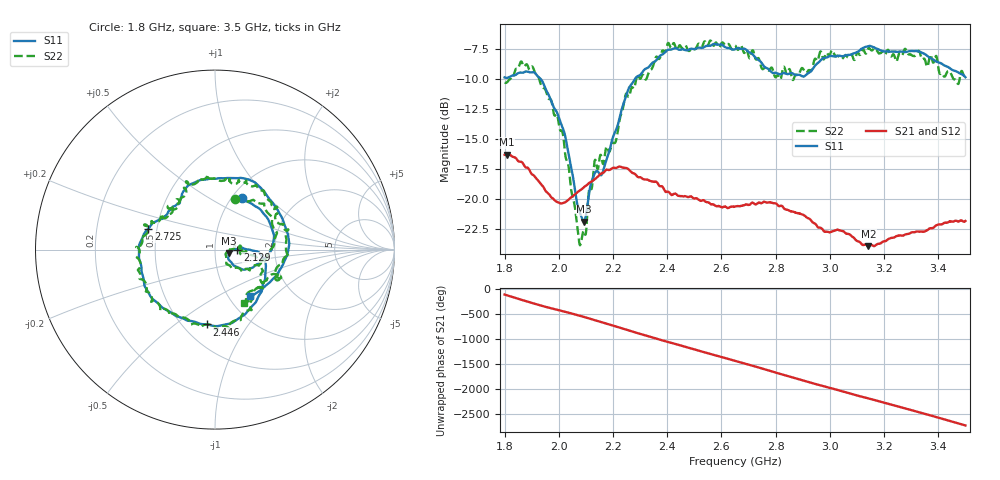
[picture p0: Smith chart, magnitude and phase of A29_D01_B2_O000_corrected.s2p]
! Created with skrf 1.9.0 (http://scikit-rf.org).
# Hz S RI R 50.0
!freq ReS11 ImS11 ReS21 ImS21 ReS12 ImS12 ReS22 ImS22
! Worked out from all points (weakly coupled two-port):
!   1601 points, 1.8 GHz to 3.5 GHz, reference 50 ohm
!   highest |S21| = -16.30 dB at 1.807 GHz (marker M1); lowest = -24.0 dB at 3.142 GHz (marker M2)
!   lowest |S11| = -21.9 dB at 2.093 GHz (marker M3), VSWR 1.17, Z = 58.4 - j2.33 ohm
!   |S11| at or under -10 dB: 1.934 GHz to 2.28 GHz (346.3 MHz wide, 16.4 % of centre)
!   |S22| runs from -23.9 to -6.8 dB; largest |S21 - S12| = 0.0029
!   S11 on the Smith chart (normalised r, x): 1.8 GHz: 1.11, +0.71; 2.129 GHz: 1.29, -0.00; 2.446 GHz: 0.65, -0.66; 2.725 GHz: 0.45, +0.12; 3.5 GHz: 1.25, -0.72
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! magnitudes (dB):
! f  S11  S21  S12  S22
! 1.8 GHz  -9.8  -16.3  -16.3  -10.3
! 1.807 GHz  -9.9  -16.3  -16.3  -10.3
! 1.865 GHz  -9.5  -17.0  -17.0  -8.6
! 1.915 GHz  -9.5  -18.2  -18.2  -9.5
! 1.969 GHz  -11.6  -19.8  -19.8  -11.7
! 2.014 GHz  -14.0  -20.4  -20.4  -14.4
! 2.073 GHz  -20.9  -19.4  -19.4  -23.3
! 2.084 GHz  -21.5  -19.2  -19.2  -23.4
! 2.093 GHz  -21.9  -19.0  -19.1  -22.7
! 2.129 GHz  -18.0  -18.4  -18.4  -17.3
! 2.163 GHz  -17.7  -17.8  -17.8  -17.1
! 2.209 GHz  -14.3  -17.4  -17.4  -15.3
! 2.261 GHz  -10.6  -17.6  -17.6  -11.3
! 2.367 GHz  -8.2  -18.8  -18.8  -8.3
! 2.446 GHz  -7.5  -19.8  -19.8  -7.2
! 2.65 GHz  -7.5  -20.6  -20.6  -7.2
! 2.725 GHz  -8.2  -20.5  -20.5  -8.3
! 2.812 GHz  -9.6  -20.6  -20.5  -9.8
! 2.934 GHz  -9.2  -21.9  -21.9  -9.2
! 3.142 GHz  -7.2  -24.0  -23.9  -7.4
! 3.217 GHz  -7.7  -23.4  -23.3  -7.6
! 3.5 GHz  -9.8  -21.9  -21.9  -9.4
